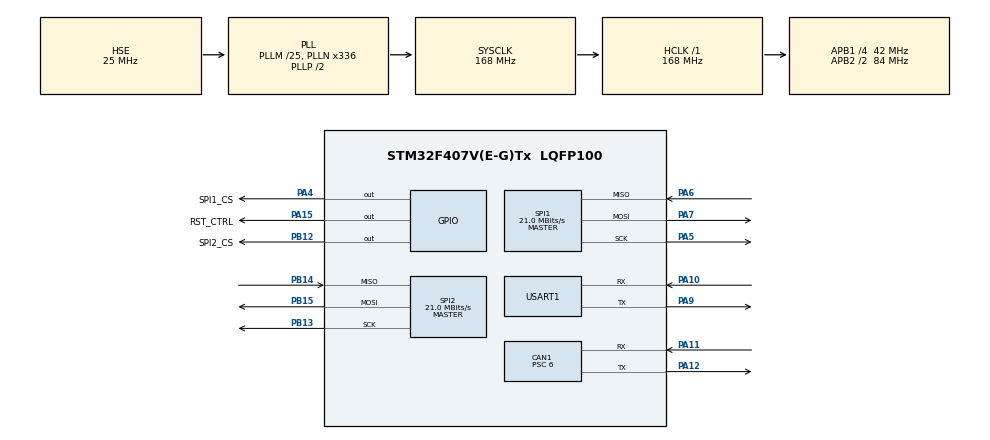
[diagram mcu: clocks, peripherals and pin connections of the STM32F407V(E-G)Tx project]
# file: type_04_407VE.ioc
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CAN1.BS1=CAN_BS1_6TQ
CAN1.BS2=CAN_BS2_7TQ
CAN1.CalculateBaudRate=500000
CAN1.CalculateTimeBit=2000
CAN1.CalculateTimeQuantum=142.85714285714286
CAN1.Prescaler=6
Dma.Request0=USART1_RX
Dma.Request1=USART1_TX
Dma.USART1_RX.0.Direction=DMA_PERIPH_TO_MEMORY
Dma.USART1_RX.0.FIFOMode=DMA_FIFOMODE_DISABLE
Dma.USART1_RX.0.Instance=DMA2_Stream2
Dma.USART1_RX.0.MemDataAlignment=DMA_MDATAALIGN_BYTE
Dma.USART1_RX.0.MemInc=DMA_MINC_ENABLE
Dma.USART1_RX.0.Mode=DMA_NORMAL
Dma.USART1_RX.0.PeriphDataAlignment=DMA_PDATAALIGN_BYTE
Dma.USART1_RX.0.PeriphInc=DMA_PINC_DISABLE
Dma.USART1_RX.0.Priority=DMA_PRIORITY_VERY_HIGH
Dma.USART1_TX.1.Direction=DMA_MEMORY_TO_PERIPH
Dma.USART1_TX.1.FIFOMode=DMA_FIFOMODE_DISABLE
Dma.USART1_TX.1.Instance=DMA2_Stream7
Dma.USART1_TX.1.MemDataAlignment=DMA_MDATAALIGN_BYTE
Dma.USART1_TX.1.MemInc=DMA_MINC_ENABLE
Dma.USART1_TX.1.Mode=DMA_NORMAL
Dma.USART1_TX.1.PeriphDataAlignment=DMA_PDATAALIGN_BYTE
Dma.USART1_TX.1.PeriphInc=DMA_PINC_DISABLE
Dma.USART1_TX.1.Priority=DMA_PRIORITY_MEDIUM
Mcu.Family=STM32F4
Mcu.Name=STM32F407V(E-G)Tx
Mcu.Package=LQFP100
NVIC.CAN1_RX0_IRQn=true\:1\:0\:true\:false\:true\:true\:true\:true
NVIC.CAN1_TX_IRQn=true\:1\:0\:true\:false\:true\:true\:true\:true
NVIC.DMA2_Stream2_IRQn=true\:0\:0\:false\:false\:true\:false\:true\:true
NVIC.DMA2_Stream7_IRQn=true\:0\:0\:false\:false\:true\:false\:true\:true
NVIC.PriorityGroup=NVIC_PRIORITYGROUP_4
NVIC.SPI1_IRQn=true\:0\:0\:false\:false\:true\:true\:true\:true
NVIC.SPI2_IRQn=true\:0\:0\:false\:false\:true\:true\:true\:true
NVIC.TIM1_TRG_COM_TIM11_IRQn=true\:3\:0\:true\:false\:true\:true\:true\:true
NVIC.TIM8_TRG_COM_TIM14_IRQn=true\:2\:0\:true\:false\:true\:true\:true\:true
NVIC.USART1_IRQn=true\:0\:0\:false\:false\:true\:true\:true\:true
PA10.Mode=Asynchronous
PA10.Signal=USART1_RX
PA11.Mode=CAN_Activate
PA11.Signal=CAN1_RX
PA12.Mode=CAN_Activate
PA12.Signal=CAN1_TX
PA13.Mode=Serial_Wire
PA13.Signal=SYS_JTMS-SWDIO
PA14.Mode=Serial_Wire
PA14.Signal=SYS_JTCK-SWCLK
PA15.GPIO_Label=RST_CTRL
PA15.GPIO_PuPd=GPIO_PULLDOWN
PA15.Signal=GPIO_Output
PA4.GPIO_Label=SPI1_CS
PA4.Signal=GPIO_Output
PA5.Mode=Full_Duplex_Master
PA5.Signal=SPI1_SCK
PA6.Mode=Full_Duplex_Master
PA6.Signal=SPI1_MISO
PA7.Mode=Full_Duplex_Master
PA7.Signal=SPI1_MOSI
PA9.Mode=Asynchronous
PA9.Signal=USART1_TX
PB12.GPIO_Label=SPI2_CS
PB12.Signal=GPIO_Output
PB13.Mode=Full_Duplex_Master
PB13.Signal=SPI2_SCK
PB14.Mode=Full_Duplex_Master
PB14.Signal=SPI2_MISO
PB15.Mode=Full_Duplex_Master
PB15.Signal=SPI2_MOSI
PH0-OSC_IN.Mode=HSE-External-Oscillator
PH0-OSC_IN.Signal=RCC_OSC_IN
PH1-OSC_OUT.Mode=HSE-External-Oscillator
PH1-OSC_OUT.Signal=RCC_OSC_OUT
ProjectManager.HeapSize=0x200
ProjectManager.StackSize=0x400
ProjectManager.TargetToolchain=MDK-ARM V5.32
RCC.48MHZClocksFreq_Value=84000000
RCC.AHBFreq_Value=168000000
RCC.APB1CLKDivider=RCC_HCLK_DIV4
RCC.APB1Freq_Value=42000000
RCC.APB1TimFreq_Value=84000000
RCC.APB2CLKDivider=RCC_HCLK_DIV2
RCC.APB2Freq_Value=84000000
RCC.APB2TimFreq_Value=168000000
RCC.CortexFreq_Value=168000000
RCC.HCLKFreq_Value=168000000
RCC.HSE_VALUE=25000000
RCC.HSI_VALUE=16000000
RCC.LSE_VALUE=32768
RCC.PLLM=25
RCC.PLLN=336
RCC.PLLSourceVirtual=RCC_PLLSOURCE_HSE
RCC.SYSCLKFreq_VALUE=168000000
RCC.SYSCLKSource=RCC_SYSCLKSOURCE_PLLCLK
RCC.VCOOutputFreq_Value=336000000
SPI1.BaudRatePrescaler=SPI_BAUDRATEPRESCALER_4
SPI1.CLKPhase=SPI_PHASE_2EDGE
SPI1.CLKPolarity=SPI_POLARITY_HIGH
SPI1.CalculateBaudRate=21.0 MBits/s
SPI1.DataSize=SPI_DATASIZE_16BIT
SPI1.Direction=SPI_DIRECTION_2LINES
SPI1.Mode=SPI_MODE_MASTER
SPI1.VirtualType=VM_MASTER
SPI2.BaudRatePrescaler=SPI_BAUDRATEPRESCALER_2
SPI2.CLKPhase=SPI_PHASE_2EDGE
SPI2.CLKPolarity=SPI_POLARITY_HIGH
SPI2.CalculateBaudRate=21.0 MBits/s
SPI2.DataSize=SPI_DATASIZE_16BIT
SPI2.Direction=SPI_DIRECTION_2LINES
SPI2.Mode=SPI_MODE_MASTER
SPI2.VirtualType=VM_MASTER
STMicroelectronics.X-CUBE-ALGOBUILD.1.3.0.LibraryCcDSPOoLibraryJjDSPOoLibrary=true
TIM11.Period=100-1
TIM11.Prescaler=84-1
TIM14.Period=1000-1
TIM14.Prescaler=84-1
TIM6.Prescaler=84-1
USART1.Parity=PARITY_ODD
USART1.VirtualMode=VM_ASYNC
USART1.WordLength=WORDLENGTH_9B
VP_STMicroelectronics.X-CUBE-ALGOBUILD_VS_DSPOoLibraryJjLibrary_1.3.0_1.3.0.Mode=DSPOoLibraryJjLibrary
VP_TIM11_VS_ClockSourceINT.Mode=Enable_Timer
VP_TIM14_VS_ClockSourceINT.Mode=Enable_Timer
VP_TIM6_VS_ClockSourceINT.Mode=Enable_Timer
board=custom

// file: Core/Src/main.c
/* USER CODE BEGIN Header */
/**
  ******************************************************************************
  * @file           : main.c
  * @brief          : Main program body
  ******************************************************************************
  * @attention
  *
  * Copyright (c) 2023 STMicroelectronics.
  * All rights reserved.
  *
  * This software is licensed under terms that can be found in the LICENSE file
  * in the root directory of this software component.
  * If no LICENSE file comes with this software, it is provided AS-IS.
  *
  ******************************************************************************
  */
/* USER CODE END Header */
#include "main.h"
#include "can.h"
#include "dma.h"
#include "spi.h"
#include "tim.h"
#include "usart.h"
#include "gpio.h"

/* USER CODE BEGIN Includes */
#include "MA600.h"
#include "YIS130.h"
#include "arm_math.h"
#include "IM_TEST.h"
#include "stdio.h"

/* USER CODE END Includes */

/* USER CODE BEGIN PD */
uint16_t angle[2];
uint16_t angle_int[2];

extern MPU_DATA mpu_data[4];
float i = 0;
extern float ACCX,ACCY,ACCZ;

int add = 0;
int times = 0;
int add14= 0;

typedef struct struct_message
{
  uint8_t header;
  uint8_t parity;
  uint8_t data[6];
  uint8_t footer;
} DataPacket;

DataPacket DataRe;

/* USER CODE END PD */

/* USER CODE BEGIN PV */

uint8_t rcv_buf[64] = {0};
char mpu_buff[64] = {0};

imu_data imu_buf = {
	.head[0] = 0xC5,
	.head[1] = 0X6C,
	.tail[0] = 0X5C,
	.tail[1] = 0XC6
};//2025新数据包

int rcv_flag = 0;

/* USER CODE END PV */

void SystemClock_Config(void);

int main(void)
{

  /* MCU Configuration--------------------------------------------------------*/

  /* Reset of all peripherals, Initializes the Flash interface and the Systick. */
  HAL_Init();

  /* Configure the system clock */
  SystemClock_Config();

  /* Initialize all configured peripherals */
  MX_GPIO_Init();
  MX_DMA_Init();
  MX_CAN1_Init();
  MX_TIM11_Init();
  MX_TIM14_Init();
  MX_USART1_UART_Init();
  MX_SPI1_Init();
  MX_SPI2_Init();
  MX_TIM6_Init();
  /* USER CODE BEGIN 2 */

	__HAL_UART_ENABLE_IT(&huart1, UART_IT_IDLE);
	HAL_UART_Receive_DMA(&huart1, rcv_buf, 8);

  MA600_HandleInit(&TestMA600[0], &hspi1, GPIOA, GPIO_PIN_4);
  MA600_HandleInit(&TestMA600[1], &hspi2, GPIOB, GPIO_PIN_12);

	mpu_data[0].cali = 1;
	mpu_data[0].vel[0] = 0;
	mpu_data[0].vel[1] = 0;
	mpu_data[0].REAL_YAW_SET = 0;
	mpu_data[0].REAL_YAW_MARK = 0;

	can_filter_init();
	IM_TEST_initialize();

	HAL_TIM_Base_Start(&htim6);
  HAL_TIM_Base_Start_IT(&htim11);
	HAL_TIM_Base_Start_IT(&htim14);

  /* USER CODE END 2 */

  /* Infinite loop */
	while (1)
  {

  }
}

void SystemClock_Config(void)
{
  RCC_OscInitTypeDef RCC_OscInitStruct = {0};
  RCC_ClkInitTypeDef RCC_ClkInitStruct = {0};

  /** Configure the main internal regulator output voltage
  */
  __HAL_RCC_PWR_CLK_ENABLE();
  __HAL_PWR_VOLTAGESCALING_CONFIG(PWR_REGULATOR_VOLTAGE_SCALE1);

  /** Initializes the RCC Oscillators according to the specified parameters
  * in the RCC_OscInitTypeDef structure.
  */
  RCC_OscInitStruct.OscillatorType = RCC_OSCILLATORTYPE_HSE;
  RCC_OscInitStruct.HSEState = RCC_HSE_ON;
  RCC_OscInitStruct.PLL.PLLState = RCC_PLL_ON;
  RCC_OscInitStruct.PLL.PLLSource = RCC_PLLSOURCE_HSE;
  RCC_OscInitStruct.PLL.PLLM = 25;
  RCC_OscInitStruct.PLL.PLLN = 336;
  RCC_OscInitStruct.PLL.PLLP = RCC_PLLP_DIV2;
  RCC_OscInitStruct.PLL.PLLQ = 4;
  if (HAL_RCC_OscConfig(&RCC_OscInitStruct) != HAL_OK)
  {
    Error_Handler();
  }

  /** Initializes the CPU, AHB and APB buses clocks
  */
  RCC_ClkInitStruct.ClockType = RCC_CLOCKTYPE_HCLK|RCC_CLOCKTYPE_SYSCLK
                              |RCC_CLOCKTYPE_PCLK1|RCC_CLOCKTYPE_PCLK2;
  RCC_ClkInitStruct.SYSCLKSource = RCC_SYSCLKSOURCE_PLLCLK;
  RCC_ClkInitStruct.AHBCLKDivider = RCC_SYSCLK_DIV1;
  RCC_ClkInitStruct.APB1CLKDivider = RCC_HCLK_DIV4;
  RCC_ClkInitStruct.APB2CLKDivider = RCC_HCLK_DIV2;

  if (HAL_RCC_ClockConfig(&RCC_ClkInitStruct, FLASH_LATENCY_5) != HAL_OK)
  {
    Error_Handler();
  }
}

/* USER CODE BEGIN 4 */

//DMA+空闲中断 用于接收上位机信??
void Rcv_IdleCallback(void){
	//判断空闲中断发生
	if(__HAL_UART_GET_FLAG(&huart1, UART_FLAG_IDLE) == SET){
		//清除空闲中断标志位，暂停串口DMA传输
		__HAL_UART_CLEAR_IDLEFLAG(&huart1);
		HAL_UART_DMAStop(&huart1);
		//接收完成标志??
		rcv_flag = 1;
	}
}

int Rcv_DealData(void){
	if(1==rcv_flag){
		//数据处理
		if(0x0F==rcv_buf[0]&&0xAA==rcv_buf[7]){
			//编码轮强制更新指??
			DATARELOAD(rcv_buf);
		}
		else if(0xBB==rcv_buf[0]&&0xCC==rcv_buf[7]){
			//??螺仪硬件复位指令
			HAL_GPIO_WritePin(RST_CTRL_GPIO_Port,RST_CTRL_Pin,GPIO_PIN_SET);
			HAL_Delay(500);
			HAL_GPIO_WritePin(RST_CTRL_GPIO_Port,RST_CTRL_Pin,GPIO_PIN_RESET);
			DATARELOAD(rcv_buf);
		}
		for(int i=0;i<8;i++){
			rcv_buf[i]=0;
		}
		//恢复标志??
		rcv_flag = 0;
		//发起下一次的串口DMA接收
		HAL_UART_Receive_DMA(&huart1, rcv_buf, 8);
		return 0;
	}else{
		return -1;
	}
}

void HAL_TIM_PeriodElapsedCallback(TIM_HandleTypeDef *htim)
{
    if (htim == (&htim14)){
			add14++;
			if(add14 >= 5){
				add14 = 0;
				HAL_UART_Transmit_DMA(&huart1, (uint8_t *)&imu_buf, 24);

			}
    }

		if (htim == (&htim11)){
			if(mpu_data[0].cali == 1){
				if(times >= 500){
						add++;
						MA600_Get_Angle(&TestMA600[0]);
						MA600_dataUpdate(&TestMA600[0]);
						MA600_Get_Angle(&TestMA600[1]);
						MA600_dataUpdate(&TestMA600[1]);

						mpu_data[0].REAL_YAW = mpu_data[0].YAW_ANGLE;

            rtU.W1 = -TestMA600[1].delta_dis;
            rtU.W2 = TestMA600[0].delta_dis;
            rtU.DEG = mpu_data[0].REAL_YAW;

            mpu_data[0].Y_tt += rtY.YOUT ;//*0.014373;
            mpu_data[0].X_tt += rtY.XOUT ;//*0.014373;
						mpu_data[0].REAL_Y = mpu_data[0].Y_tt * 0.014373;
						mpu_data[0].REAL_X = mpu_data[0].X_tt * 0.014373;
						// x y yaw

						Rcv_DealData();

						if(add >= 50){
//							memset(mpu_buff, 0, 64);
//							//bc为与上位机握手标??
//							int mpu_len = sprintf(mpu_buff,"bc %f %f %f %f\r\n",mpu_data[0].REAL_X,mpu_data[0].REAL_Y,mpu_data[0].REAL_YAW,mpu_data[0].ROLL_ANGLE);
//							HAL_UART_Transmit_DMA(&huart1, (uint8_t *)&mpu_buff, mpu_len);
						  add = 0;
						}
					}
						else{

						MA600_Get_Angle(&TestMA600[0]);
						MA600_dataUpdate(&TestMA600[0]);
						MA600_Get_Angle(&TestMA600[1]);
						MA600_dataUpdate(&TestMA600[1]);
					  mpu_data[0].vel[0] = 0;
				    mpu_data[0].vel[1] = 0;
						times ++ ;
					}
				IM_TEST_step();
			}
		}

		angle[0]=TestMA600[0].Angle;
		angle_int[0]=angle[0]/182;
		angle[1]=TestMA600[1].Angle;
		angle_int[1]=angle[1]/182;

}

/* USER CODE END 4 */

void Error_Handler(void)
{
  __disable_irq();
  while (1)
  {
  }
}
